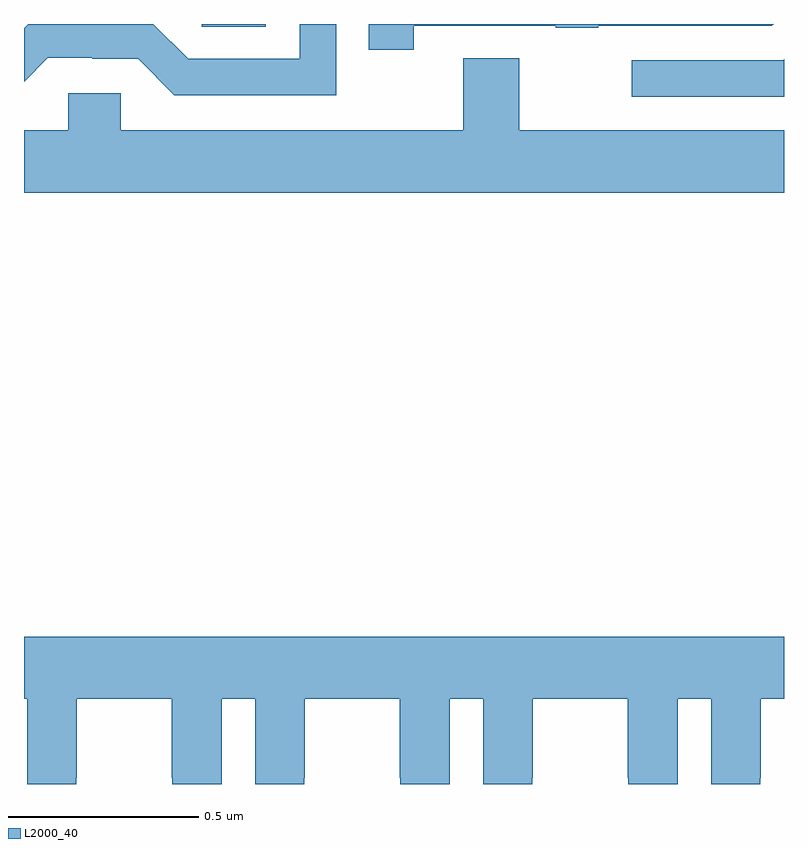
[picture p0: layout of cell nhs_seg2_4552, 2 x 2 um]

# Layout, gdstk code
import gdstk
lib = gdstk.Library(unit=1e-6, precision=1e-09)
def R(c, l, rs):  # rectangles x0, y0, x1, y1
    for r in rs: c.add(gdstk.rectangle(r[:2], r[2:], *l))
def P(c, l, *ps):  # polygons
    for p in ps: c.add(gdstk.Polygon(p, *l))
L2000_40 = (2000, 40)

nhs_seg2_4552 = lib.new_cell('nhs_seg2_4552')
R(nhs_seg2_4552, L2000_40, [(168.468,594.793,168.636,594.8)])
P(nhs_seg2_4552, L2000_40, [(168.822,594.8),(168.726,594.8),(168.726,594.708),(168.432,594.708),(168.34,594.8),(168.011,594.8),(168,594.789),(168,594.648),(168.063,594.711),(168.18,594.711),(168.18,594.708),(168.3,594.708),(168.396,594.612),(168.822,594.612)],
  [(169.026,594.795),(169.399,594.795),(169.399,594.79),(169.511,594.79),(169.511,594.795),(169.968,594.795),(169.973,594.8),(168.907,594.8),(168.907,594.732),(169.026,594.732)],
  [(170,594.52),(169.303,594.52),(169.303,594.71),(169.156,594.71),(169.156,594.52),(168.255,594.52),(168.255,594.618),(168.117,594.618),(168.117,594.52),(168,594.52),(168,594.356),(170,594.356)],
  [(170,594.707),(169.998,594.705),(169.599,594.705),(169.599,594.609),(170,594.609)],
  [(168.138,592.816),(168.139,592.816),(168.139,593.024),(168.389,593.024),(168.389,592.816),(168.39,592.816),(168.39,592.8),(168.52,592.8),(168.52,593.024),(168.608,593.024),(168.608,592.8),(168.738,592.8),(168.738,592.816),(168.739,592.816),(168.739,593.024),(168.989,593.024),(168.989,592.816),(168.99,592.816),(168.99,592.8),(169.12,592.8),(169.12,593.024),(169.208,593.024),(169.208,592.8),(169.338,592.8),(169.338,592.816),(169.339,592.816),(169.339,593.024),(169.589,593.024),(169.589,592.816),(169.59,592.816),(169.59,592.8),(169.72,592.8),(169.72,593.024),(169.808,593.024),(169.808,592.8),(169.938,592.8),(169.938,592.816),(169.939,592.816),(169.939,593.024),(170,593.024),(170,593.188),(168,593.188),(168,593.024),(168.008,593.024),(168.008,592.8),(168.138,592.8)])

lib.write_gds('nhs_seg2_4552.gds')
